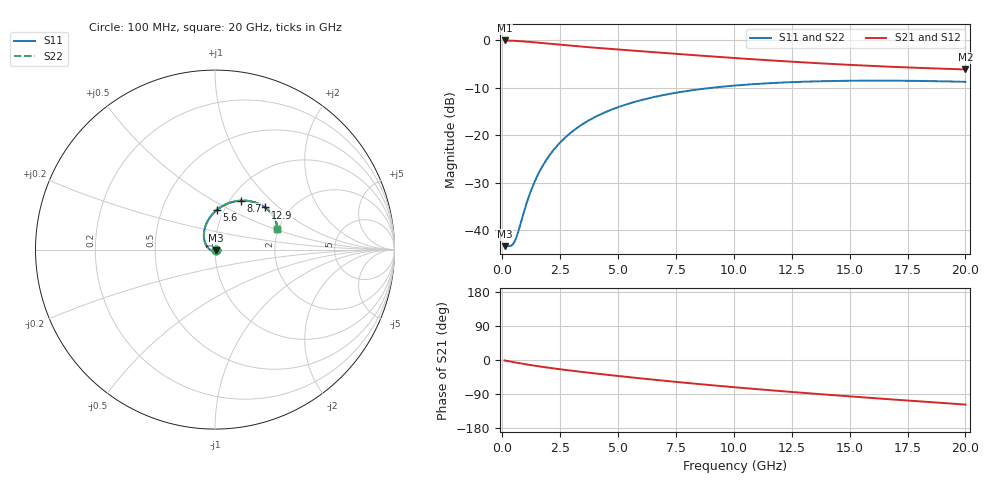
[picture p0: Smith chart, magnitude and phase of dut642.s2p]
! Touchstone file exported from HFSS 2024.1.0
!  File:  C:/UserFiles/LocalFiles/RDL_TSV_Batchsim/temp_RDL_TSV_642_1779806997.aedt
!  Generated:  11:03:16 PM May 26, 2026
!  Design:  RDL_TSV
!  Project:  temp_RDL_TSV_642_1779806997
!  Setup:  Setup1
!  Solution:  Sweep
! Variables:
!  dtsv = 12.06um
!  hbump = 3um
!  htsv = 51.59um
!  ldown = 324.64um
!  lrdl = 175.01um
!  p = 40
!  p1 = 57.57um
!  rhole = 10um
!  subl = 1673.96um
!  t = 450um
!  tdown = 3.78um
!  trdl = 4.77um
!  viad = 10um
!  wdown = 21.25um
!  wrdl = 29.96um
!  xbump = 18um
# GHz S MA R 50.000000
! Terminal data exported
! Port[1] = TM1_1_T1
! Port[2] = TM1_4_T1
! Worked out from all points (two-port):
!   200 points, 100 MHz to 20 GHz, reference 50 ohm
!   highest |S21| = -0.06 dB at 100 MHz (marker M1); lowest = -6.2 dB at 20 GHz (marker M2)
!   |S21| within 3 dB of the highest: start of sweep to 8.01 GHz
!   lowest |S11| = -43.4 dB at 100 MHz (marker M3), VSWR 1.01, Z = 50.7 - j0.142 ohm
!   |S11| at or under -10 dB: start of sweep to 9.101 GHz
!   |S22| runs from -43.4 to -8.5 dB; largest |S21 - S12| = 9.5e-15
!   S11 on the Smith chart (normalised r, x): 100 MHz: 1.01, -0.00; 5.6 GHz: 0.92, +0.43; 8.7 GHz: 1.12, +0.67; 12.9 GHz: 1.51, +0.82; 20 GHz: 1.96, +0.52
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0.1  0.006787 -11.9  0.9928 -1.2  0.9928 -1.2  0.006786 -11.9
! Gamma 0 0 0 0
! Port Impedance 50 0 50 0
0.4  0.006894 -62.0  0.9877 -4.7  0.9877 -4.7  0.006891 -62.0
0.5  0.007319 -82.9  0.9851 -5.8  0.9851 -5.8  0.007316 -82.9
0.6  0.008276 -103.3  0.9821 -6.9  0.9821 -6.9  0.008275 -103.4
0.7  0.009838 -121.3  0.9788 -8.0  0.9788 -8.0  0.009839 -121.4
1  0.01757 -158.3  0.9668 -11.2  0.9668 -11.2  0.01759 -158.4
1.3  0.02837 -179.9  0.9529 -14.2  0.9529 -14.2  0.0284 -180.0
1.6  0.04102 165.1  0.9381 -17.0  0.9381 -17.0  0.04107 165.1
1.9  0.05478 153.6  0.9232 -19.6  0.9232 -19.6  0.05485 153.5
2.2  0.06917 144.1  0.9086 -22.1  0.9086 -22.1  0.06925 144.1
2.6  0.08872 133.6  0.8901 -25.3  0.8901 -25.3  0.08883 133.6
3  0.1082 124.8  0.8726 -28.3  0.8726 -28.3  0.1084 124.8
3.5  0.132 115.4  0.8522 -31.9  0.8522 -31.9  0.1322 115.4
4.5  0.1766 100.5  0.8149 -38.9  0.8149 -38.9  0.1768 100.5
5.6  0.2198 87.7  0.7772 -46.1  0.7772 -46.1  0.22 87.7
6.8  0.2596 76.4  0.7389 -53.6  0.7389 -53.6  0.2599 76.4
8.7  0.3081 62.2  0.6834 -64.7  0.6834 -64.7  0.3085 62.2
10.1  0.3337 53.7  0.6468 -72.3  0.6468 -72.3  0.3341 53.7
12.9  0.3645 40.1  0.5855 -86.3  0.5855 -86.3  0.365 40.2
13.4  0.3676 38.1  0.5762 -88.6  0.5762 -88.6  0.3682 38.1
16.7  0.3749 26.7  0.5258 -103.5  0.5258 -103.5  0.3755 26.8
20  0.3642 18.4  0.4918 -117.6  0.4918 -117.6  0.3649 18.5
